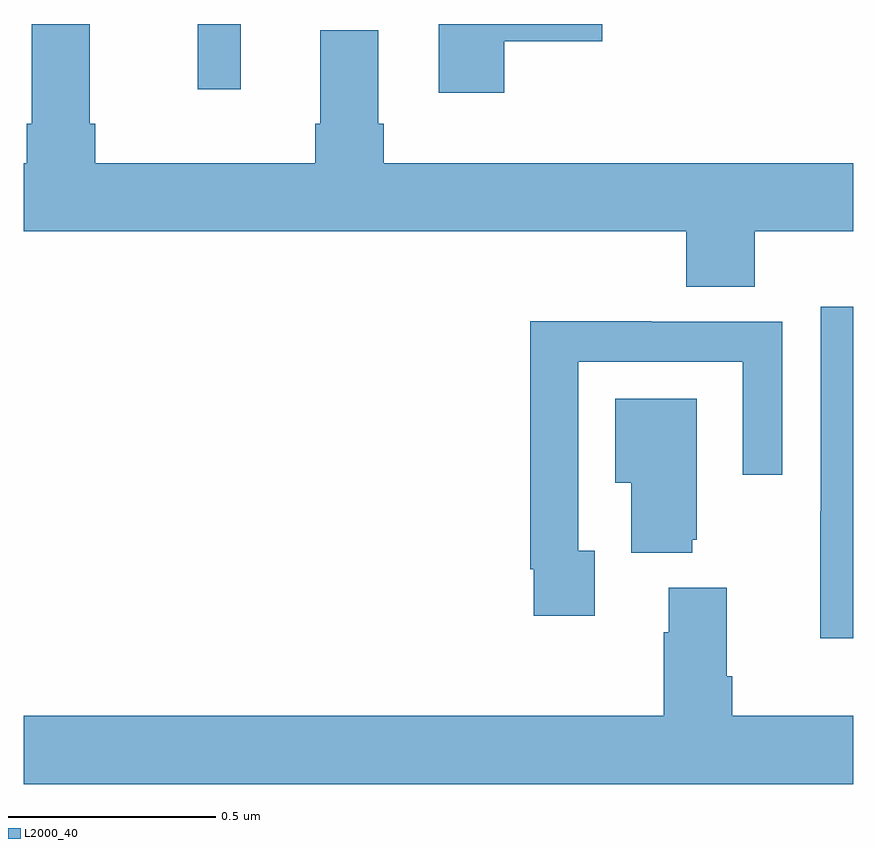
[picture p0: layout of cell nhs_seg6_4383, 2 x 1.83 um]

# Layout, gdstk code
import gdstk
lib = gdstk.Library(unit=1e-6, precision=1e-09)
def R(c, l, rs):  # rectangles x0, y0, x1, y1
    for r in rs: c.add(gdstk.rectangle(r[:2], r[2:], *l))
def P(c, l, *ps):  # polygons
    for p in ps: c.add(gdstk.Polygon(p, *l))
L2000_40 = (2000, 40)

nhs_seg6_4383 = lib.new_cell('nhs_seg6_4383')
R(nhs_seg6_4383, L2000_40, [(169.42,950.343,169.523,950.5)])
P(nhs_seg6_4383, L2000_40, [(170.762,950),(171,950),(171,950.164),(169.868,950.164),(169.868,950.26),(169.855,950.26),(169.855,950.485),(169.715,950.485),(169.715,950.26),(169.703,950.26),(169.703,950.164),(169.172,950.164),(169.172,950.26),(169.159,950.26),(169.159,950.5),(169.019,950.5),(169.019,950.26),(169.007,950.26),(169.007,950.164),(169,950.164),(169,950),(170.597,950),(170.597,949.867),(170.762,949.867)],
  [(170.159,950.458),(170.395,950.458),(170.395,950.5),(170,950.5),(170,950.334),(170.159,950.334)],
  [(171,949.819),(170.922,949.819),(170.922,949.325),(170.92,949.325),(170.92,949.019),(171,949.019)],
  [(170.377,949.23),(170.337,949.23),(170.337,949.686),(170.733,949.686),(170.733,949.413),(170.829,949.413),(170.829,949.782),(170.513,949.782),(170.513,949.784),(170.221,949.784),(170.221,949.186),(170.229,949.186),(170.229,949.074),(170.377,949.074)],
  [(170.612,949.257),(170.623,949.257),(170.623,949.597),(170.426,949.597),(170.426,949.394),(170.465,949.394),(170.465,949.226),(170.612,949.226)],
  [(171,948.832),(170.708,948.832),(170.708,948.928),(170.695,948.928),(170.695,949.141),(170.555,949.141),(170.555,949.034),(170.543,949.034),(170.543,948.832),(169,948.832),(169,948.668),(171,948.668)])

lib.write_gds('nhs_seg6_4383.gds')
